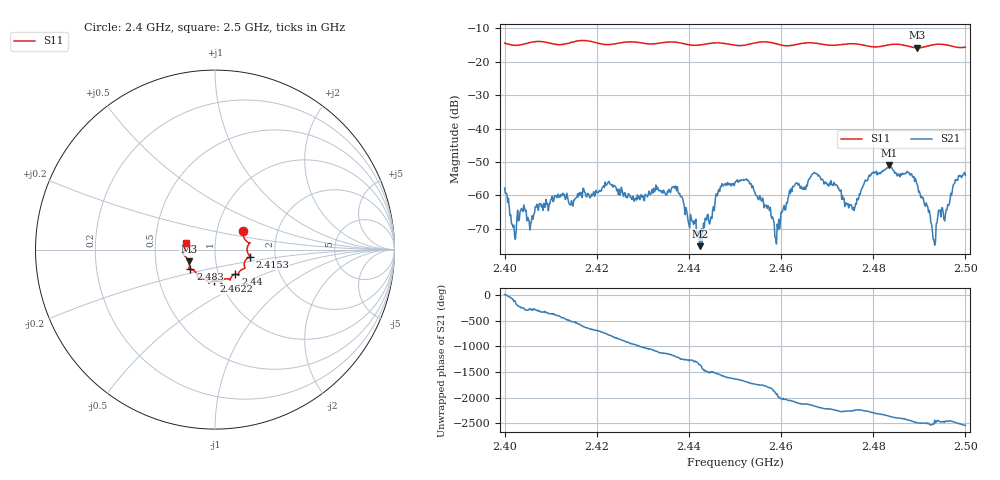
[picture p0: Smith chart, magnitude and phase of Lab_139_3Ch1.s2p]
# Hz S RI R 50
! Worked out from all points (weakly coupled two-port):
!   601 points, 2.4 GHz to 2.5 GHz, reference 50 ohm
!   highest |S21| = -51.04 dB at 2.4835 GHz (marker M1); lowest = -75.2 dB at 2.4423 GHz (marker M2)
!   lowest |S11| = -15.9 dB at 2.4895 GHz (marker M3), VSWR 1.38, Z = 36.9 - j5.01 ohm
!   |S11| at or under -10 dB: start of sweep to end of sweep
!   S12 and S22 are empty: the file has one direction only
!   S11 on the Smith chart (normalised r, x): 2.4 GHz: 1.33, +0.29; 2.4153 GHz: 1.48, -0.12; 2.44 GHz: 1.20, -0.34; 2.4622 GHz: 0.93, -0.33; 2.483 GHz: 0.74, -0.17; 2.5 GHz: 0.72, +0.06
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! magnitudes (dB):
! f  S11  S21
! 2.4 GHz  -14.5  -57.8
! 2.402 GHz  -15.2  -68.9
! 2.4038 GHz  -14.9  -64.4
! 2.4153 GHz  -14.0  -60.9
! 2.4167 GHz  -13.7  -59.3
! 2.4333 GHz  -14.5  -58.0
! 2.437 GHz  -14.2  -57.9
! 2.44 GHz  -15.0  -68.8
! 2.4423 GHz  -15.1  -75.2
! 2.4468 GHz  -14.4  -57.3
! 2.45 GHz  -15.1  -56.2
! 2.453 GHz  -14.9  -55.7
! 2.4592 GHz  -14.8  -68.6
! 2.4622 GHz  -15.2  -58.0
! 2.4667 GHz  -14.4  -53.8
! 2.4755 GHz  -14.7  -64.2
! 2.483 GHz  -15.1  -51.7
! 2.4833 GHz  -15.0  -51.5
! 2.4835 GHz  -15.0  -51.0
! 2.4895 GHz  -15.9  -56.6
! 2.4932 GHz  -14.9  -73.3
! 2.5 GHz  -15.7  -54.0
